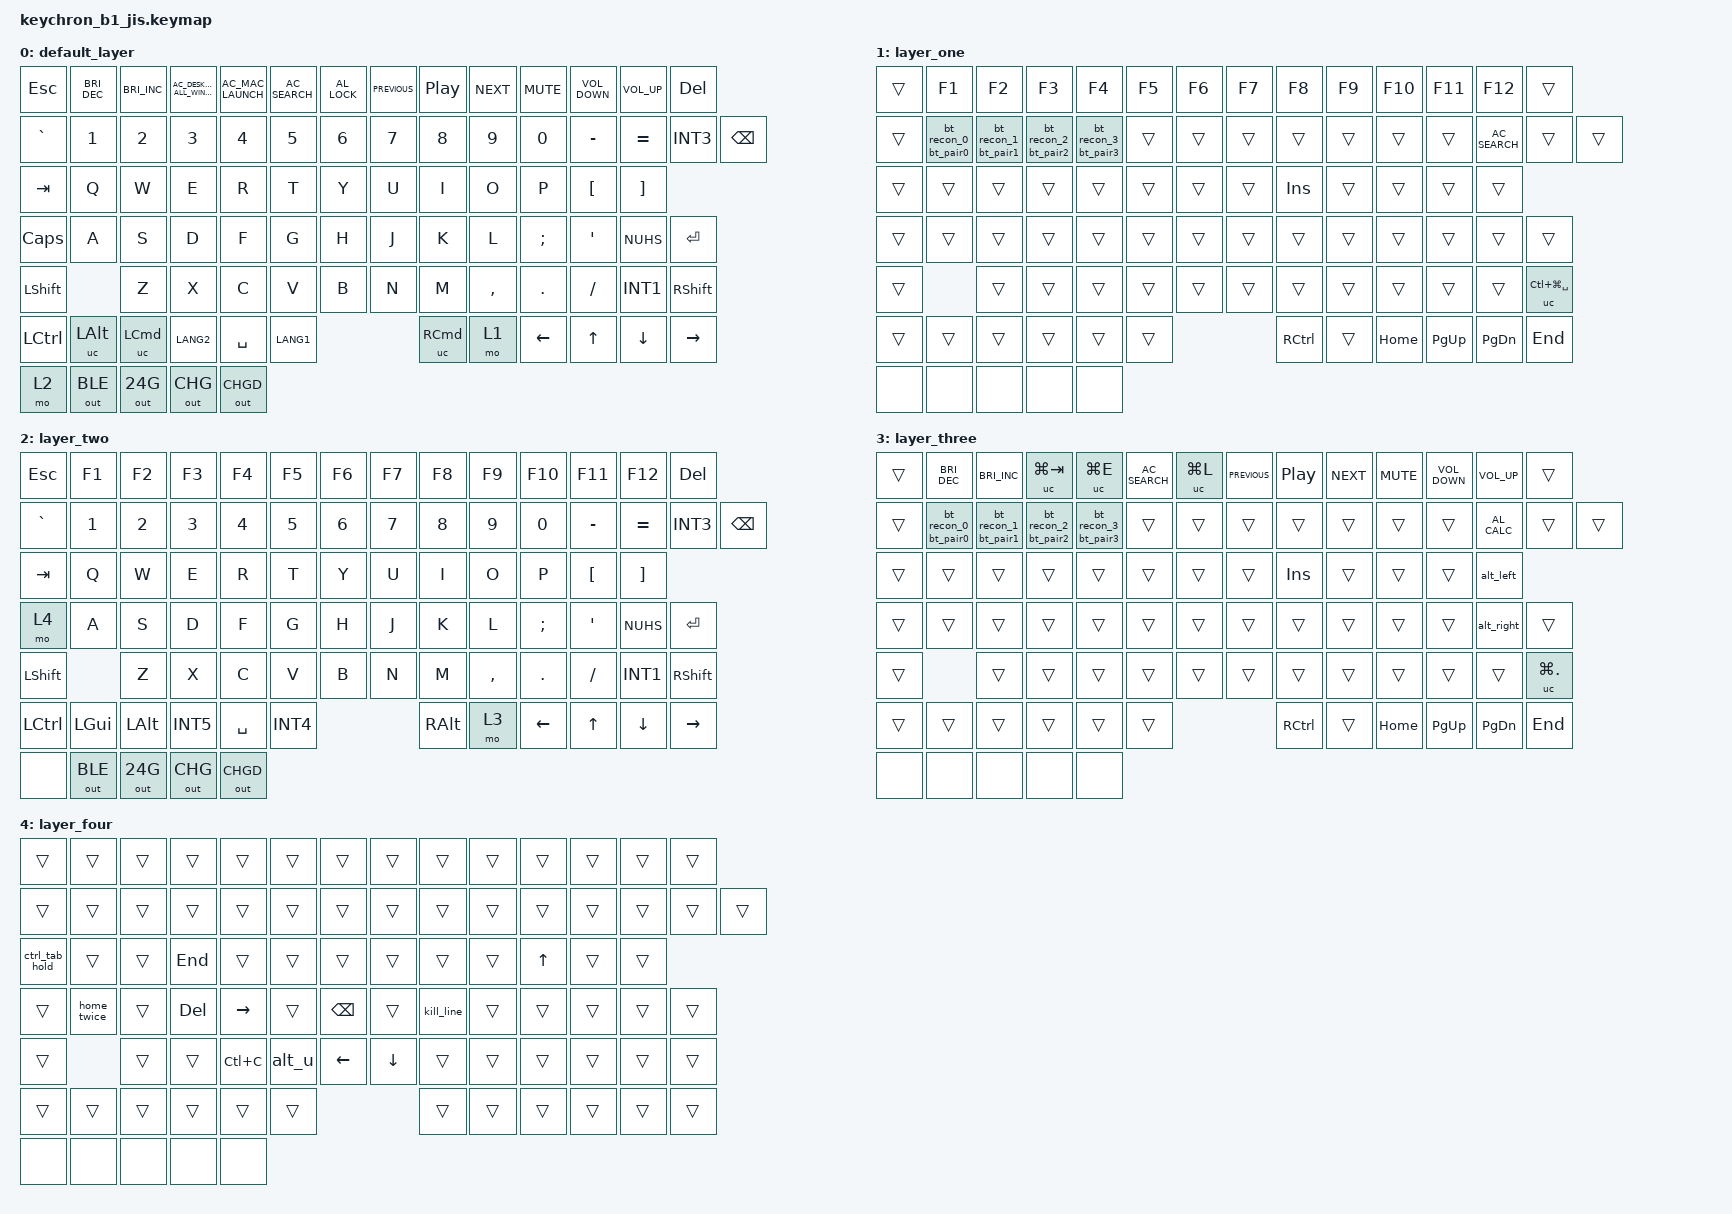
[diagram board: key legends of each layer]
/*
 * Copyright (c) 2023 The ZMK Contributors
 *
 * SPDX-License-Identifier: MIT
 */

#include <behaviors.dtsi>
#include <dt-bindings/zmk/keys.h>
#include <dt-bindings/zmk/rgb.h>
#include <dt-bindings/zmk/bt.h>
#include <dt-bindings/zmk/outputs.h>

/ {
    ZMK_MACRO(recover, bindings = <&out OUT_RECOVER>;)
    ZMK_MACRO(change, bindings = <&out OUT_FN>;)
    ZMK_MACRO(fn_win, bindings = <&out OUT_FN_WIN>;)

    ZMK_MACRO(en_bootloader, bindings = <&bootloader>;)
    ZMK_MACRO1(MA,bindings=<&kp 0x770000>;)

    long_press_recover:l1 {
        compatible = "zmk,behavior-hold-tap";
        label = "l1";
        #binding-cells = <2>;
        flavor = "tap-preferred";
        tapping-term-ms = <3000>;  // delay amount in ms
        bindings = <&recover>, <&none>;
    };

    long_press_change:l2{
        compatible = "zmk,behavior-hold-tap";
        label = "lp_change";
        #binding-cells = <2>;
        flavor = "tap-preferred";
        tapping-term-ms = <3000>;  // delay amount in ms
        bindings = <&change>, <&none>;
    };
    long_press_bootloader:l3{
        compatible = "zmk,behavior-hold-tap";
        label = "lp_bootloader";
        #binding-cells = <2>;
        flavor = "tap-preferred";
        tapping-term-ms = <3000>;  // delay amount in ms
        bindings = <&en_bootloader>, <&none>;
    };
    long_press_fn_win:l4{
        compatible = "zmk,behavior-hold-tap";
        label = "lp_fn_win";
        #binding-cells = <2>;
        flavor = "tap-preferred";
        tapping-term-ms = <3000>;   
        bindings = <&fn_win>, <&none>;
    };
   

    combos1 {
        compatible = "zmk,combos";
        combo_jz {
            timeout-ms = <1000>;
            layers = <1 3>;
            key-positions = <49 57>; //fn+j+z
            bindings = <&long_press_recover 0 0>;
        };
        combo_xl {
            timeout-ms = <1000>;
            layers =< 1 3>;
            key-positions = <58 51>; //fn+x+l
            bindings = <&long_press_change 0 0>;
        };
        // combo_b {
        //     timeout-ms = <1000>;
        //     layers =< 1 3>;
        //     //slow-release = <true>;
        //     key-positions = <61>; //fn+b
        //     bindings = <&out OUT_BAT>;
        // };

        combo_win_l {
            timeout-ms = <1000>;
            layers =< 1 3>;
            //slow-release = <true>;
            key-positions = <70>; //fn+win
            bindings = <&long_press_fn_win 0 0>;
        };

        combo_t0 {
            timeout-ms = <10 >;
            layers =<4>;
          
            key-positions = <80 90>;  
            bindings = <&to 3 >;
        };
        combo_t1 {
            timeout-ms = <10 >;
            layers =<4>;
          
            key-positions = <80 91>;  
            bindings = <&tog 3 >;
        };
        combo_t2 {
            timeout-ms = <10 >;
            layers =<4>;
          
            key-positions = <80 92>;  
            bindings = <&sl 3 >;
        };
        combo_t3 {
            timeout-ms = <10 >;
            layers =<4>;
          
            key-positions = <70 93>;  
            bindings = <&lt 3 SPACE>;
        };
        combo_t4 {
            timeout-ms = <10 >;
            layers =<4>;
          
            key-positions = <81 94>;  
            bindings = <&sk LSHIFT>;
        };
        combo_t5 {
            timeout-ms = <10 >;
            layers =<4>;
          
            key-positions = <81 93>;  
            bindings = <&mt LSHIFT SPACE>;
        };
        combo_t6 {
            timeout-ms = <10 >;
            layers =<4>;
          
            key-positions = <81 93>;  
            bindings = <&gresc>;
        };
    };

    td0 {
        compatible = "zmk,behavior-tap-dance";
        label = "TAPD_LAYER";
        #binding-cells = <1>;
        tapping-term-ms = <350>;
        bindings =<&mo 0>,<&mo 0>,<&mo 0>,<&mo 0>,<&to 0>;
    };
    ZMK_MACRO(bt_pair0, bindings = <&bt BT_PAIR 0>;)
    ZMK_MACRO(bt_pair1, bindings = <&bt BT_PAIR 1>;)
    ZMK_MACRO(bt_pair2, bindings = <&bt BT_PAIR 2>;)
    ZMK_MACRO(bt_pair3, bindings = <&bt BT_PAIR 3>;)
    ZMK_MACRO(bt_recon_0, bindings = <&bt BT_SEL 0>;)
    ZMK_MACRO(bt_recon_1, bindings = <&bt BT_SEL 1>;)
    ZMK_MACRO(bt_recon_2, bindings = <&bt BT_SEL 2>;)
    ZMK_MACRO(bt_recon_3, bindings = <&bt BT_SEL 3>;)

    // Ctrl+Tab hold macro - Ctrl stays pressed until key release (for browser tab switcher)
    ctrl_tab_hold: ctrl_tab_hold {
        compatible = "zmk,behavior-macro";
        label = "CTRL_TAB_HOLD";
        #binding-cells = <0>;
        wait-ms = <0>;
        tap-ms = <0>;
        bindings = 
            <&macro_press &kp LCTRL>,
            <&macro_tap &kp TAB>,
            <&macro_pause_for_release>,
            <&macro_release &kp LCTRL>;
    };

    // Alt+Tab hold macro - Alt stays pressed until key release (for app switcher)
    alt_tab_hold: alt_tab_hold {
        compatible = "zmk,behavior-macro";
        label = "ALT_TAB_HOLD";
        #binding-cells = <0>;
        wait-ms = <0>;
        tap-ms = <0>;
        bindings = 
            <&macro_press &kp LALT>,
            <&macro_tap &kp TAB>,
            <&macro_pause_for_release>,
            <&macro_release &kp LALT>;
    };

    // Kill line macro (Shift+End then Delete)
    kill_line: kill_line {
        compatible = "zmk,behavior-macro";
        label = "KILL_LINE";
        #binding-cells = <0>;
        wait-ms = <50>;
        tap-ms = <50>;
        bindings = 
            <&macro_press &kp LSHIFT>,
            <&macro_tap &kp END>,
            <&macro_release &kp LSHIFT>,
            <&macro_tap &kp DEL>;
    };

    // Home twice macro (go to beginning of line, then beginning of text)
    home_twice: home_twice {
        compatible = "zmk,behavior-macro";
        label = "HOME_TWICE";
        #binding-cells = <0>;
        wait-ms = <10>;
        tap-ms = <10>;
        bindings = 
            <&macro_tap &kp HOME>,
            <&macro_tap &kp HOME>;
    };

    // Tab behavior: normal Tab, but Ctrl+Tab becomes Alt+Tab
    tab_morph: tab_morph {
        compatible = "zmk,behavior-mod-morph";
        label = "TAB_MORPH";
        #binding-cells = <0>;
        bindings = <&kp TAB>, <&kp LA(TAB)>;
        mods = <(MOD_LCTL|MOD_RCTL)>;
    };

    // Alt+Left macro for browser back (with delay)
    alt_left: alt_left {
        compatible = "zmk,behavior-macro";
        label = "ALT_LEFT";
        #binding-cells = <0>;
        wait-ms = <30>;
        tap-ms = <30>;
        bindings = 
            <&macro_press &kp LALT>,
            <&macro_tap &kp LEFT>,
            <&macro_release &kp LALT>;
    };

    // Alt+Right macro for browser forward (with delay)
    alt_right: alt_right {
        compatible = "zmk,behavior-macro";
        label = "ALT_RIGHT";
        #binding-cells = <0>;
        wait-ms = <30>;
        tap-ms = <30>;
        bindings = 
            <&macro_press &kp LALT>,
            <&macro_tap &kp RIGHT>,
            <&macro_release &kp LALT>;
    };

    // Alt+U macro for undo (with delay)
    alt_u: alt_u {
        compatible = "zmk,behavior-macro";
        label = "ALT_U";
        #binding-cells = <0>;
        wait-ms = <30>;
        tap-ms = <30>;
        bindings = 
            <&macro_press &kp LALT>,
            <&macro_tap &kp U>,
            <&macro_release &kp LALT>;
    };

    // Win+V sends F13 instead of clipboard history
    v_morph: v_morph {
        compatible = "zmk,behavior-mod-morph";
        label = "V_MORPH";
        #binding-cells = <0>;
        bindings = <&kp V>, <&kp F13>;
        mods = <(MOD_LGUI|MOD_RGUI)>;
        keep-mods = <0>;
    };

    // JIS [ key (physical, Pの2つ右) - sends RBKT ([) normally, Alt+Left (browser back) with Ctrl
    jis_lbracket_morph: jis_lbracket_morph {
        compatible = "zmk,behavior-mod-morph";
        label = "JIS_LBRACKET_MORPH";
        #binding-cells = <0>;
        bindings = <&kp RBKT>, <&alt_left>;
        mods = <(MOD_LCTL|MOD_RCTL)>;
        keep-mods = <0>;
    };

    // JIS ] key (physical, Enter左隣) - sends BSLH (]) normally, Alt+Right (browser forward) with Ctrl
    jis_rbracket_morph: jis_rbracket_morph {
        compatible = "zmk,behavior-mod-morph";
        label = "JIS_RBRACKET_MORPH";
        #binding-cells = <0>;
        bindings = <&kp BSLH>, <&alt_right>;
        mods = <(MOD_LCTL|MOD_RCTL)>;
        keep-mods = <0>;
    };
    


    bt_pair_0: bt_pair_0 {
        compatible = "zmk,behavior-hold-tap";
        label = "bt_pair0";
        #binding-cells = <2>;
        flavor = "tap-preferred";
        tapping-term-ms = <3000>;  // delay amount in ms
        bindings = <&bt_pair0>, <&bt_recon_0>;
    };
    bt_pair_1: bt_pair_1 {
        compatible = "zmk,behavior-hold-tap";
        label = "bt_pair1";
        #binding-cells = <2>;
        flavor = "tap-preferred";
        tapping-term-ms = <3000>;  // delay amount in ms
        bindings = <&bt_pair1>, <&bt_recon_1>;
    };
    bt_pair_2: bt_pair_2 {
        compatible = "zmk,behavior-hold-tap";
        label = "bt_pair2";
        #binding-cells = <2>;
        flavor = "tap-preferred";
        tapping-term-ms = <3000>;  // delay amount in ms
        bindings = <&bt_pair2>, <&bt_recon_2>;
    };
    bt_pair_3: bt_pair_3 {
        compatible = "zmk,behavior-hold-tap";
        label = "bt_pair3";
        #binding-cells = <2>;
        flavor = "tap-preferred";
        tapping-term-ms = <3000>;  // delay amount in ms
        bindings = <&bt_pair3>, <&bt_recon_3>;
    };
    uc:user_custom {
        compatible = "zmk,behavior-key-press";
        label ="user_custom";
        #binding-cells =<1>;
    };

	keymap {
    	compatible = "zmk,keymap";
            //mac
        default_layer {
        bindings = <
          //ESC         //f1                    //f2                //f3                                    //f4                //f5                //f6            //f7            //f8                //f9        //f10       //f11               //f12               //DEL                                              
        &kp ESC     &kp C_BRIGHTNESS_DEC    &kp C_BRIGHTNESS_INC    &kp C_AC_DESKTOP_SHOW_ALL_WINDOWS   &kp  C_AC_MAC_LAUNCH    &kp C_AC_SEARCH     &kp C_AL_LOCK   &kp C_PREVIOUS  &kp C_PLAY_PAUSE    &kp C_NEXT  &kp C_MUTE  &kp C_VOLUME_DOWN   &kp C_VOLUME_UP     &kp DEL  
        &kp GRAVE   &kp N1                  &kp N2                  &kp N3                              &kp N4                  &kp N5              &kp N6          &kp N7          &kp N8              &kp N9      &kp N0      &kp MINUS           &kp EQUAL           &kp INT3    &kp BSPC 
        &kp TAB     &kp Q                   &kp W                   &kp E                               &kp R                   &kp T               &kp Y           &kp U           &kp I               &kp O       &kp P       &kp LBKT            &kp RBKT            
        &kp CLCK    &kp A                   &kp S                   &kp D                               &kp F                   &kp G               &kp H           &kp J           &kp K               &kp L       &kp SEMI    &kp SQT             &kp NUHS            &kp RET 
        &kp LSHFT                           &kp Z                   &kp X                               &kp C                   &kp V               &kp B           &kp N           &kp M               &kp COMMA   &kp DOT     &kp FSLH            &kp INT1            &kp RSHFT 
        &kp LCTRL   &uc LALT                &uc LCMD                &kp LANG2       &kp SPACE                                                       &kp LANG1                       &uc RCMD            &mo 1       &kp LEFT    &kp UP              &kp DOWN            &kp RIGHT   
        &mo 2       &out OUT_BLE            &out OUT_24G            &out OUT_CHG                        &out OUT_CHGD 
            >;
        };
        //mac
        layer_one  {
        bindings = < 
        &trans      &kp F1                  &kp F2                  &kp F3                              &kp F4                  &kp F5              &kp F6          &kp F7          &kp F8              &kp F9      &kp F10     &kp F11             &kp F12             &trans    
        &trans      &bt_pair_0 0 0          &bt_pair_1 0 0          &bt_pair_2 0 0                      &bt_pair_3 0 0          &trans              &trans          &trans          &trans              &trans      &trans      &trans              &kp C_AC_SEARCH     &trans    &trans  
        &trans      &trans                  &trans                  &trans                              &trans                  &trans              &trans          &trans          &kp INS             &trans      &trans      &trans              &trans              
        &trans      &trans                  &trans                  &trans                              &trans                  &trans              &trans          &trans          &trans              &trans      &trans      &trans              &trans              &trans
        &trans                              &trans                  &trans                              &trans                  &trans              &trans          &trans          &trans              &trans      &trans      &trans              &trans              &uc LC(LG(SPACE))
        &trans      &trans                  &trans                  &trans                  &trans                                                                  &trans                          &kp RCTRL           &trans        &kp HOME   &kp PG_UP   &kp PG_DN    &kp END  
        //
        &none       &none                   &none                   &none                               &none
            >;
        };
        //win
        layer_two {
 		bindings = <
        &kp ESC 	&kp F1 	               &kp F2 	                &kp F3 	                            &kp F4 	                &kp F5 	            &kp F6 	        &kp F7 	        &kp F8 	            &kp F9 	     &kp F10 	&kp F11 	         &kp F12 	         &kp DEL     
        &kp GRAVE	&kp N1 	               &kp N2 	                &kp N3 	                            &kp N4 	                &kp N5 	            &kp N6 	        &kp N7 	        &kp N8 	            &kp N9 	     &kp N0     &kp MINUS 	         &kp EQUAL 	         &kp INT3        &kp BSPC
        &kp TAB 	&kp Q 	               &kp W                    &kp E 	                            &kp R 	                &kp T               &kp Y 	        &kp U 	        &kp I 	            &kp O 	     &kp P 		&kp LBKT 	         &kp RBKT 	         
        &mo 4   	&kp A 	               &kp S 	                &kp D 	                            &kp F 	                &kp G 	            &kp H 	        &kp J 	        &kp K 	            &kp L 	     &kp SEMI 	&kp SQT              &kp NUHS               &kp RET
        &kp LSHFT                          &kp Z 	                &kp X 	                            &kp C 	                &kp V 	            &kp B 	        &kp N 	        &kp M 	            &kp COMMA    &kp DOT    &kp FSLH             &kp INT1            &kp RSHFT
        &kp LCTRL 	&kp LGUI               &kp LALT                 &kp INT5             &kp SPACE              		                                            &kp INT4                       &kp RALT 	        &mo 3 		  &kp LEFT 	 &kp UP      &kp DOWN 	&kp RIGHT 	
        //
        &none       &out OUT_BLE           &out OUT_24G             &out OUT_CHG                        &out OUT_CHGD 
            >;
        };
        //win
        layer_three {
        bindings = < 
                    //f1                    //f2                    //f3                                //f4                        //f5            //f6              //f7            //f8              //f9        //f10           //f11                         //f12          
        &trans  &kp C_BRIGHTNESS_DEC    &kp C_BRIGHTNESS_INC        &uc LG(TAB)                         &uc LG(E)               &kp C_AC_SEARCH     &uc LG(L)       &kp C_PREVIOUS  &kp C_PLAY_PAUSE    &kp C_NEXT  &kp C_MUTE  &kp C_VOLUME_DOWN           &kp C_VOLUME_UP      &trans
        &trans  &bt_pair_0 0 0          &bt_pair_1 0 0              &bt_pair_2 0 0                      &bt_pair_3 0 0          &trans              &trans          &trans          &trans              &trans      &trans      &trans                      &kp C_AL_CALC        &trans     &trans
        &trans  &trans                  &trans                      &trans                              &trans                  &trans              &trans          &trans          &kp INS             &trans      &trans      &trans                      &alt_left                     
        &trans  &trans                  &trans                      &trans                              &trans                  &trans              &trans          &trans          &trans              &trans      &trans      &trans                      &alt_right           &trans  
        &trans                          &trans                      &trans                              &trans                  &trans              &trans          &trans          &trans              &trans      &trans      &trans                      &trans               &uc LG(DOT) 
        &trans  &trans                  &trans                      &trans     &trans                                                                               &trans                              &kp RCTRL           &trans      &kp HOME    &kp PG_UP    &kp PG_DN   &kp END    
        //
        &none   &none                   &none                       &none                               &none
            >;
        };

        // Emacs layer (activated by CapsLock)
        layer_four {
        bindings = <
        &trans  &trans                  &trans                      &trans                              &trans                  &trans              &trans          &trans          &trans              &trans      &trans      &trans                      &trans               &trans
        &trans  &trans                  &trans                      &trans                              &trans                  &trans              &trans          &trans          &trans              &trans      &trans      &trans                      &trans               &trans     &trans
        &ctrl_tab_hold  &trans          &trans                      &kp END                             &trans                  &trans              &trans          &trans          &trans              &trans      &kp UP      &trans                      &trans
        &trans  &home_twice             &trans                      &kp DEL                             &kp RIGHT               &trans              &kp BSPC        &trans          &kill_line          &trans      &trans      &trans                      &trans               &trans
        &trans                          &trans                      &trans                              &kp LC(C)               &alt_u              &kp LEFT        &kp DOWN        &trans              &trans      &trans      &trans                      &trans               &trans
        &trans  &trans                  &trans                      &trans     &trans                                                                               &trans                              &trans              &trans      &trans      &trans       &trans      &trans
        //
        &none   &none                   &none                       &none                               &none
            >;
        };

	};
};

	
